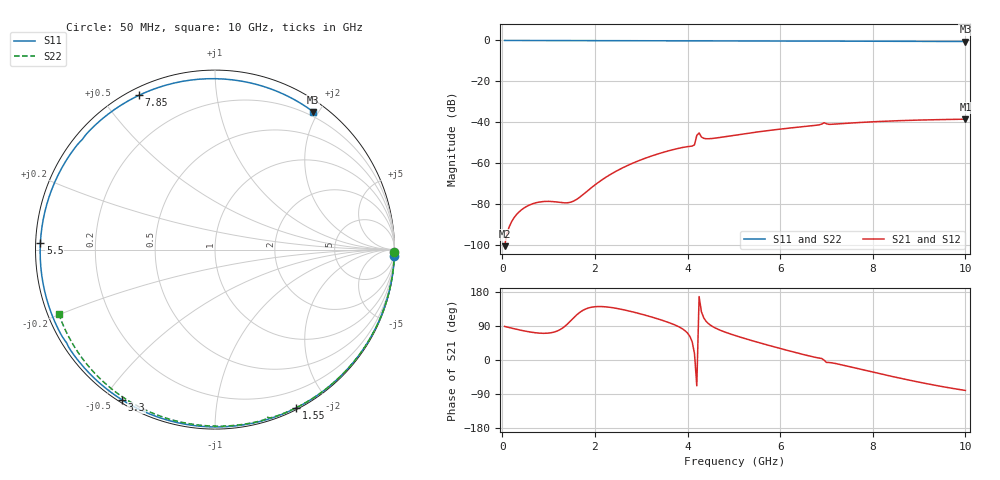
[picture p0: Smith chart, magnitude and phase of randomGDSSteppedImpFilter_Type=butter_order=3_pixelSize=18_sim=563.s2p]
! freq	dB(S11)	phase(S11)	dB(S12)	phase(S12)
!  dB(S21)	phase(S21)	dB(S22)	phase(S22)
!S-par simulation data
#  GHz  S  DB  R 50
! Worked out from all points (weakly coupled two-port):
!   200 points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, 50 MHz to 10 GHz, reference 50 ohm
!   highest |S21| = -38.40 dB at 10 GHz (marker M1); lowest = -100.3 dB at 50 MHz (marker M2)
!   lowest |S11| = -0.5 dB at 10 GHz (marker M3), VSWR 33.95, Z = 7.01 + j96.8 ohm
!   |S11| at or under -10 dB: nowhere
!   |S22| runs from -0.5 to 0.0 dB; largest |S21 - S12| = 0
!   S11 on the Smith chart (normalised r, x): 50 MHz: 0, -54; 1.55 GHz: 0.02, -1.64; 3.3 GHz: 0.01, -0.56; 5.5 GHz: 0.01, +0.02; 7.85 GHz: 0.03, +0.62; 10 GHz: 0.14, +1.94
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0.05  -0.00 -2.1  -100.34 88.6  -100.34 88.6  -0.00 -0.9
0.75  -0.04 -31.3  -79.04 71.4  -79.04 71.4  -0.02 -13.6
1.55  -0.08 -62.8  -78.23 112.4  -78.23 112.4  -0.04 -27.8
1.75  -0.08 -70.2  -75.06 131.6  -75.06 131.6  -0.04 -31.3
2.45  -0.11 -94.8  -63.87 136.6  -63.87 136.6  -0.06 -43.5
3.3  -0.14 -121.8  -55.78 110.7  -55.78 110.7  -0.08 -57.8
3.4  -0.14 -124.8  -55.07 106.9  -55.07 106.9  -0.08 -59.4
4.1  -0.17 -144.9  -51.51 48.3  -51.51 48.3  -0.11 -71.0
4.15  -0.18 -146.4  -50.91 17.2  -50.91 17.2  -0.12 -71.9
4.2  -0.21 -147.8  -46.30 -68.1  -46.30 -68.1  -0.20 -72.8
4.25  -0.20 -148.8  -45.11 167.4  -45.11 167.4  -0.16 -72.8
4.3  -0.18 -150.3  -47.09 127.2  -47.09 127.2  -0.12 -73.7
4.4  -0.18 -153.0  -47.93 102.2  -47.93 102.2  -0.11 -75.4
5.05  -0.21 -170.4  -46.11 63.7  -46.11 63.7  -0.13 -85.6
5.5  -0.23 177.9  -44.66 47.3  -44.66 47.3  -0.15 -92.5
6.7  -0.30 146.8  -41.58 8.6  -41.58 8.6  -0.22 -110.2
6.95  -0.35 140.3  -40.13 -0.6  -40.13 -0.6  -0.23 -113.8
7.1  -0.33 136.5  -40.90 -7.2  -40.90 -7.2  -0.24 -116.0
7.85  -0.37 116.3  -39.85 -27.7  -39.85 -27.7  -0.30 -126.7
8.35  -0.40 102.5  -39.32 -41.6  -39.32 -41.6  -0.34 -133.8
9.2  -0.45 78.1  -38.72 -63.3  -38.72 -63.3  -0.43 -145.9
10  -0.51 54.5  -38.40 -80.3  -38.40 -80.3  -0.53 -157.5
